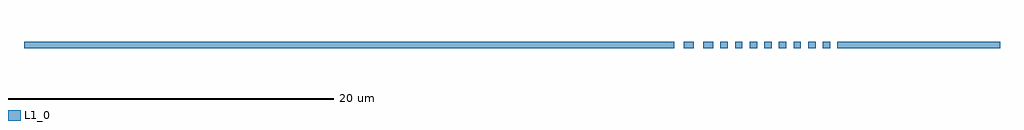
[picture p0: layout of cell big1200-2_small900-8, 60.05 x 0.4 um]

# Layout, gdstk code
import gdstk
lib = gdstk.Library(unit=1e-6, precision=1e-09)
def R(c, l, rs):  # rectangles x0, y0, x1, y1
    for r in rs: c.add(gdstk.rectangle(r[:2], r[2:], *l))
def A(c, l, x, y, w, h, nx, ny, dx, dy):  # array of equal rectangles
    R(c, l, [(x+i*dx, y+j*dy, x+i*dx+w, y+j*dy+h) for i in range(nx) for j in range(ny)])
L1_0 = (1, 0)

big1200_2_small900_8 = lib.new_cell('big1200-2_small900-8')
A(big1200_2_small900_8, L1_0, 2.85, 0, 0.45, 0.4, 8, 1, 0.9, 0)
R(big1200_2_small900_8, L1_0, [(-40,0,0,0.4), (0.6,0,1.2,0.4), (1.8,0,2.4,0.4), (10.05,0,20.05,0.4)])

lib.write_gds('big1200-2_small900-8.gds')
